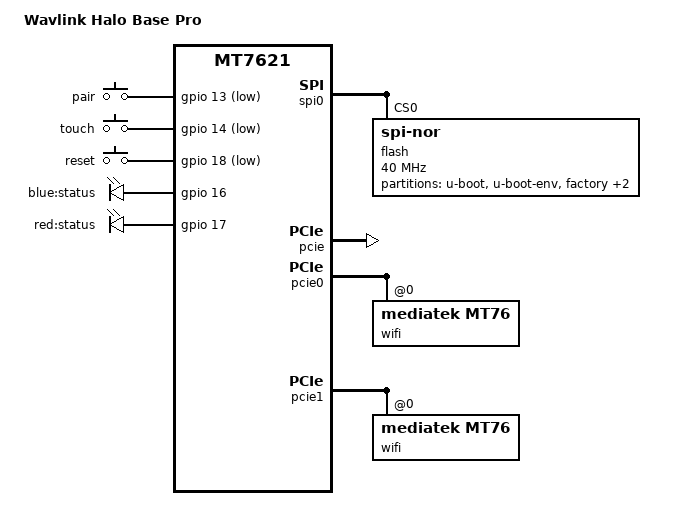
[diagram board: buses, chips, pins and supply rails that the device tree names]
// SPDX-License-Identifier: GPL-2.0-or-later OR MIT

#include "mt7621.dtsi"
#include <dt-bindings/gpio/gpio.h>
#include <dt-bindings/leds/common.h>
#include <dt-bindings/input/input.h>

/ {
	compatible = "wavlink,halo-base-pro", "mediatek,mt7621-soc";
	/*
		The only model number printed on the device is simply "Halo Base Pro", however, their webpage URL shows WL-WN535M3.
		Here I'm using the model number as written on the device label, as there appears to be nothing physically indicating WL-WN535M3.
	*/
	model = "Wavlink Halo Base Pro";
	chosen {
		bootargs = "console=ttyS0,57600n8 pci=realloc";
	};
	aliases {
		led-boot = &status_blue;
		led-failsafe = &status_red;
		led-running = &status_blue;
		led-upgrade = &status_red;
	};
	keys {
		compatible = "gpio-keys";
		pair {
				label = "pair";
				gpios = <&gpio 13 GPIO_ACTIVE_LOW>;
				linux,code = <KEY_WPS_BUTTON>;			/* On stock firmware, this button pairs the mesh devices together */
		};
		touch {
				label = "touch";
				gpios = <&gpio 14 GPIO_ACTIVE_LOW>;
				linux,code = <BTN_0>;								/* This touch sensor was originally for WPS */
		};
		reset {
				label = "reset";
				gpios = <&gpio 18 GPIO_ACTIVE_LOW>;
				linux,code = <KEY_RESTART>;					/* This is the reset pinhole button */
		};
	};
	leds {
		compatible = "gpio-leds";
		/*
			The following LEDs are for lighting up the top part of the device.
			On stock firmware, red=error, purple=booting, blue=working.
			Purple is achieved by lighting both red+blue together.
		*/
		status_blue: status_blue {
				label = "blue:status";
				gpios = <&gpio 16 GPIO_ACTIVE_HIGH>;
		};
		status_red: status_red {
				label = "red:status";
				gpios = <&gpio 17 GPIO_ACTIVE_HIGH>;
		};
	};
};

&spi0 {
	status = "okay";
	flash@0 {
		compatible = "jedec,spi-nor";
		reg = <0>;
		/* I'm not certain on what the max SPI frequency should be, the flash chip is GD25Q127C */
		spi-max-frequency = <40000000>;
		partitions {
			compatible = "fixed-partitions";
			#address-cells = <1>;
			#size-cells = <1>;
			partition@0 {
				label = "u-boot";				/* Labelled "Bootloader" on stock */
				reg = <0x0 0x30000>;
				read-only;
			};
			partition@30000 {
				label = "u-boot-env";		/* Labelled "Config" on stock */
				reg = <0x30000 0x10000>;
				compatible = "u-boot,env";
				read-only;
			};
			factory: partition@40000 {
				label = "factory";			/* Labelled "Factory" on stock, contains unique WiFi EEPROM + MAC addresses */
				reg = <0x40000 0x10000>;
				read-only;
				nvmem-layout {
					/*
						Example MAC allocation used on stock:
							LAN1:			xx:xx:xx:xx:xx:80
							LAN2/WAN:	xx:xx:xx:xx:xx:81
							WiFi 2.4G: xx:xx:xx:xx:xx:82
							WiFi 5G:	 xx:xx:xx:xx:xx:83
					*/
					compatible = "fixed-layout";
					#address-cells = <1>;
					#size-cells = <1>;
					eeprom_factory_0: eeprom@0 {					/* For 2.4GHz WiFi */
						reg = <0x0 0x400>;
					};
					eeprom_factory_8000: eeprom@8000 {		/* For 5GHz WiFi */
						reg = <0x8000 0x4da8>;
					};
					macaddr_factory_e000: macaddr@e000 {	/* LAN1 MAC address */
						reg = <0xe000 0x6>;
					};
					macaddr_factory_e006: macaddr@e006 {	/* WAN/LAN2 MAC address */
						reg = <0xe006 0x6>;
					};
				};
			};
			partition@50000 {
				compatible = "denx,uimage";
				label = "firmware";
				reg = <0x50000 0xF30000>;
			};
			partition@F80000 {
				label = "vendor";													/* Labelled "Vendor" on stock, unknown purpose */
				reg = <0xF80000 0x80000>;
				read-only;
			};
		};
	};
};

&gmac0 {
	nvmem-cells = <&macaddr_factory_e000>;
	nvmem-cell-names = "mac-address";
};

&pcie {
	status = "okay";
};

&pcie0 {
	wifi@0,0 {			/* 2.4GHz */
		compatible = "mediatek,mt76";
		reg = <0x0000 0 0 0 0>;
		nvmem-cells = <&eeprom_factory_0>;
		nvmem-cell-names = "eeprom";
		ieee80211-freq-limit = <2400000 2500000>;
	};
};

&pcie1 {
	wifi@0,0 {			/* 5GHz */
		compatible = "mediatek,mt76";
		reg = <0x0000 0 0 0 0>;
		nvmem-cells = <&eeprom_factory_8000>;
		nvmem-cell-names = "eeprom";
		ieee80211-freq-limit = <5000000 6000000>;
	};
};

&switch0 {
	compatible = "mediatek,mt7530";
	mediatek,eth-led-mode = <0>;
	ports {
		port@0 {
			status = "okay";
			label = "lan1";		/* This is the plain LAN port. */
			nvmem-cells = <&macaddr_factory_e000>;
			nvmem-cell-names = "mac-address";
		};
		port@4 {
			status = "okay";
			label = "lan2";		/* This is the grey LAN/Backhaul port. Assigned to LAN (not WAN) because this is intended to be a WiFi mesh device. */
			nvmem-cells = <&macaddr_factory_e006>;
			nvmem-cell-names = "mac-address";
		};
	};
};

&state_default {
	gpio {
		groups = "i2c", "jtag", "wdt";
		function = "gpio";
	};
};
